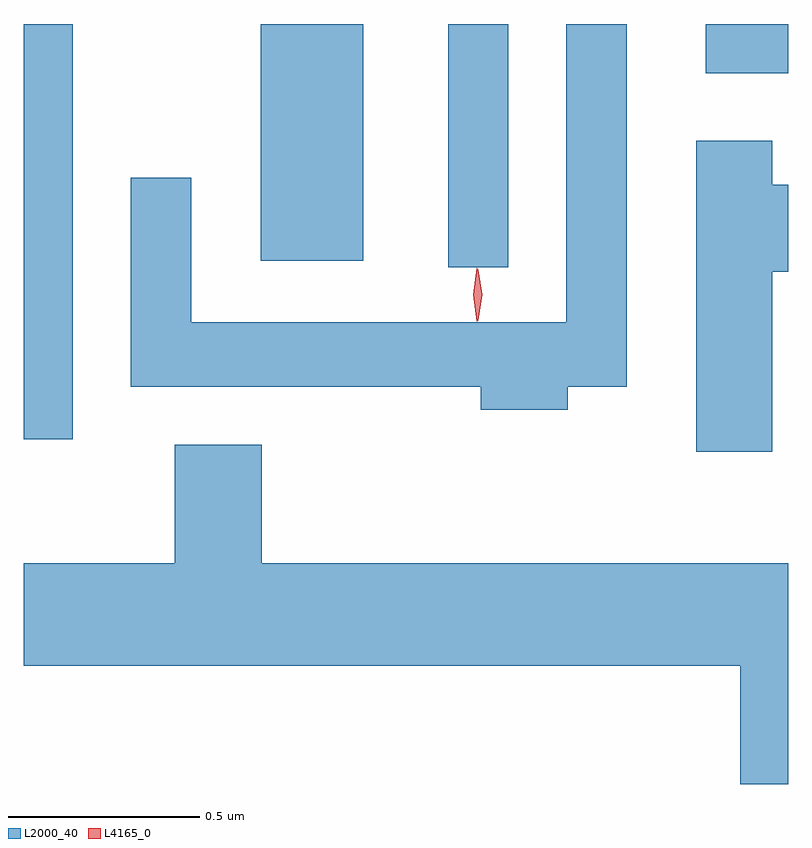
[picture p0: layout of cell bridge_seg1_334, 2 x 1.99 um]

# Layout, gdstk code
import gdstk
lib = gdstk.Library(unit=1e-6, precision=1e-09)
def R(c, l, rs):  # rectangles x0, y0, x1, y1
    for r in rs: c.add(gdstk.rectangle(r[:2], r[2:], *l))
def P(c, l, *ps):  # polygons
    for p in ps: c.add(gdstk.Polygon(p, *l))
L2000_40 = (2000, 40)
L4165_0 = (4165, 0)

bridge_seg1_334 = lib.new_cell('bridge_seg1_334')
R(bridge_seg1_334, L2000_40, [(925.046,882.408,925.174,883.495), (926.156,882.858,926.314,883.495), (925.666,882.876,925.934,883.495), (926.831,883.366,927.046,883.495)])
P(bridge_seg1_334, L2000_40, [(926.469,882.546),(926.624,882.546),(926.624,883.495),(926.466,883.495),(926.466,882.714),(925.484,882.714),(925.484,883.093),(925.326,883.093),(925.326,882.546),(926.241,882.546),(926.241,882.486),(926.469,882.486)],
  [(927.004,882.846),(927.046,882.846),(927.046,883.074),(927.004,883.074),(927.004,883.189),(926.806,883.189),(926.806,882.376),(927.004,882.376)],
  [(927.046,882.084),(925.669,882.084),(925.669,882.394),(925.441,882.394),(925.441,882.084),(925.046,882.084),(925.046,881.816),(926.921,881.816),(926.921,881.506),(927.046,881.506)])
P(bridge_seg1_334, L4165_0, [(926.235,882.719),(926.234,882.72),(926.225,882.786),(926.234,882.852),(926.235,882.853),(926.235,882.852),(926.245,882.786),(926.235,882.72)],
  [(926.231,882.717),(926.222,882.787),(926.231,882.856),(926.232,882.856),(926.232,882.856),(926.242,882.787),(926.232,882.717),(926.232,882.717)])

lib.write_gds('bridge_seg1_334.gds')
